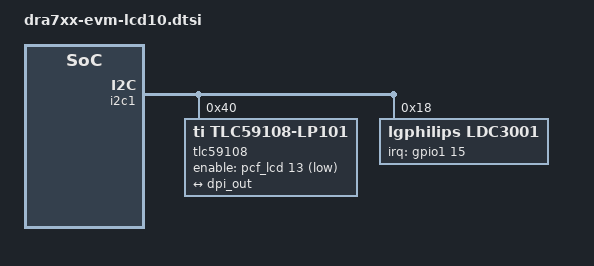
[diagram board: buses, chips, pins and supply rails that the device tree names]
/*
 * Copyright (C) 2013 Texas Instruments Incorporated - http://www.ti.com/
 *
 * This program is free software; you can redistribute it and/or modify
 * it under the terms of the GNU General Public License version 2 as
 * published by the Free Software Foundation.
 */

/ {
	aliases {
		display0 = &tlc59108;
		display1 = &hdmi0;
	};
};

&i2c1 {
	/* TLC chip for LCD panel power and backlight */
	tlc59108: tlc59108@40 {
		compatible = "ti,tlc59108-lp101";
		reg = <0x40>;
		enable-gpios = <&pcf_lcd 13 GPIO_ACTIVE_LOW>; /* P15, CON_LCD_PWR_DN */

		port {
			tlc_in: endpoint {
				remote-endpoint = <&dpi_out>;
			};
		};
	};

	ldc3001:ldc3001@18 {
		compatible = "lgphilips,ldc3001";
		status = "okay";
		reg = <0x18>;
		interrupt-parent = <&gpio1>;
		interrupts = <15 IRQ_TYPE_LEVEL_HIGH>;
		pinctrl-0 = <&tsc_pins>;
		max-touch-points = <10>;
		res-x = <1280>;
		res-y = <800>;
	};


};

/* audio codec i2c address moved to 0x19 for 10" display config */
&tlv320aic3106 {
      reg = <0x19>;
};

&dss {
	pinctrl-names = "default";
	pinctrl-0 = <&vout1_pins>;

	ports {
		#address-cells = <1>;
		#size-cells = <0>;

		port {
			reg = <0>;

			dpi_out: endpoint {
				remote-endpoint = <&tlc_in>;
				data-lines = <24>;
			};
		};
	};
};
